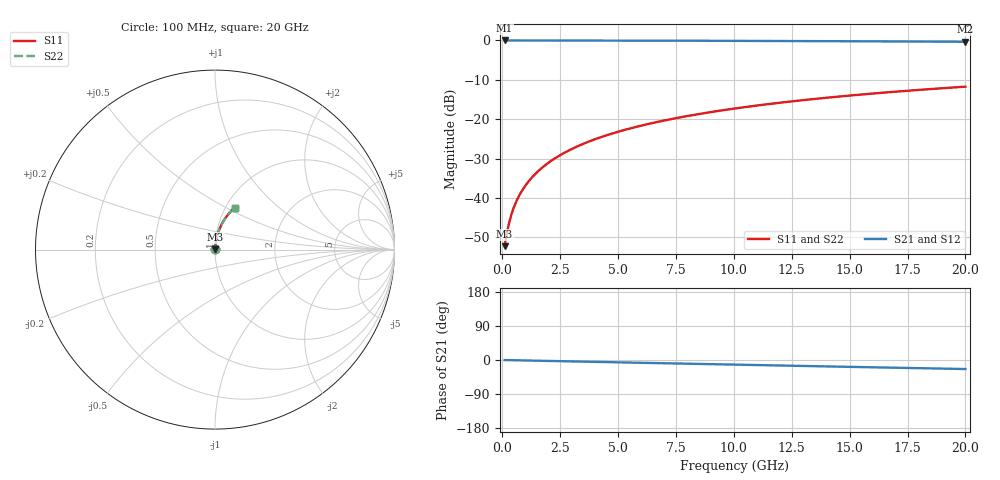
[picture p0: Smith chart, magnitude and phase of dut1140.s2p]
! Touchstone file exported from HFSS 2026.1.0
!  File:  C:/ffzhzh/LocalFiles/Ansys_Project_Files/temp_train_TMRDL_1140_1783161936_43440.aedt
!  Generated:  06:46:54 PM Jul  4, 2026
!  Design:  TMRDL
!  Project:  temp_train_TMRDL_1140_1783161936_43440
! Variables:
!  h_bsmrdl = 2um
!  h_ox = 20um
!  h_rdl = 5um
!  h_sub = 80um
!  h_tmrdl = 2.5um
!  h_tsv = 80um
!  h_via = 3um
!  l_bsmrdl = 300um
!  l_sub = 682.03um
!  l_tmrdl = 282.03um
!  m_sub = 200um
!  pitch = 58.71um
!  r_tsv = 6um
!  s_tmrdl = 10um
!  w_bsmrdl = 18um
!  w_sub = 500um
!  w_tmrdl = 25.3um
!  x_tsv_center1 = 294.68um
!  x_tsv_center2 = 612.68um
!  x_tsv_center3 = 920.01um
!  x_tsv_center4 = 1238.01um
!  x_tsv_center5 = 1545.34um
!  x_tsv_center6 = 1863.34um
# GHz S MA R 50.000000
! Terminal data exported
! Port[1] = TM_RDL1_1_T1
! Port[2] = TM_RDL1_1_T2
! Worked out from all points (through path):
!   200 points, 100 MHz to 20 GHz, reference 50 ohm
!   highest |S21| = -0.02 dB at 100 MHz (marker M1); lowest = -0.4 dB at 20 GHz (marker M2)
!   group delay of S21, straight-line fit = 3.32 ps
!   lowest |S11| = -52.3 dB at 100 MHz (marker M3), VSWR 1.00, Z = 50.2 + j0.151 ohm
!   |S11| at or under -10 dB: start of sweep to end of sweep
!   |S22| runs from -52.3 to -11.8 dB; largest |S21 - S12| = 4.3e-15
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0.1  0.002441 38.0  0.9981 -0.1  0.9981 -0.1  0.002441 38.0
! Gamma 0 0 0 0
! Port Impedance 50 0 50 0
0.2  0.003586 56.3  0.998 -0.3  0.998 -0.3  0.003586 56.3
0.3  0.004897 64.8  0.9979 -0.4  0.9979 -0.4  0.004897 64.8
0.4  0.006246 69.5  0.9979 -0.5  0.9979 -0.5  0.006246 69.5
0.5  0.0076 72.5  0.9978 -0.6  0.9978 -0.6  0.0076 72.5
0.6  0.008954 74.6  0.9977 -0.8  0.9977 -0.8  0.008954 74.6
0.8  0.01166 77.3  0.9976 -1.0  0.9976 -1.0  0.01166 77.3
1.1  0.01573 79.7  0.9974 -1.4  0.9974 -1.4  0.01573 79.7
1.3  0.01846 80.7  0.9974 -1.6  0.9974 -1.6  0.01846 80.7
1.6  0.02257 81.6  0.9972 -2.0  0.9972 -2.0  0.02257 81.6
2.1  0.02943 82.3  0.997 -2.6  0.997 -2.6  0.02943 82.3
2.7  0.03768 82.6  0.9966 -3.3  0.9966 -3.3  0.03768 82.6
3.5  0.04868 82.4  0.9961 -4.3  0.9961 -4.3  0.04868 82.4
4.2  0.05828 82.0  0.9954 -5.2  0.9954 -5.2  0.05828 82.0
5  0.06921 81.4  0.9946 -6.2  0.9946 -6.2  0.06921 81.4
5.9  0.08144 80.5  0.9935 -7.3  0.9935 -7.3  0.08144 80.5
6.8  0.0936 79.6  0.9923 -8.4  0.9923 -8.4  0.0936 79.6
8.3  0.1136 78.0  0.9899 -10.2  0.9899 -10.2  0.1136 78.0
10.1  0.1373 76.0  0.9865 -12.3  0.9865 -12.3  0.1373 76.0
13.4  0.1795 72.2  0.979 -16.2  0.979 -16.2  0.1795 72.2
16.7  0.22 68.5  0.9701 -20.1  0.9701 -20.1  0.22 68.5
20  0.2585 64.9  0.9601 -23.8  0.9601 -23.8  0.2585 64.8
